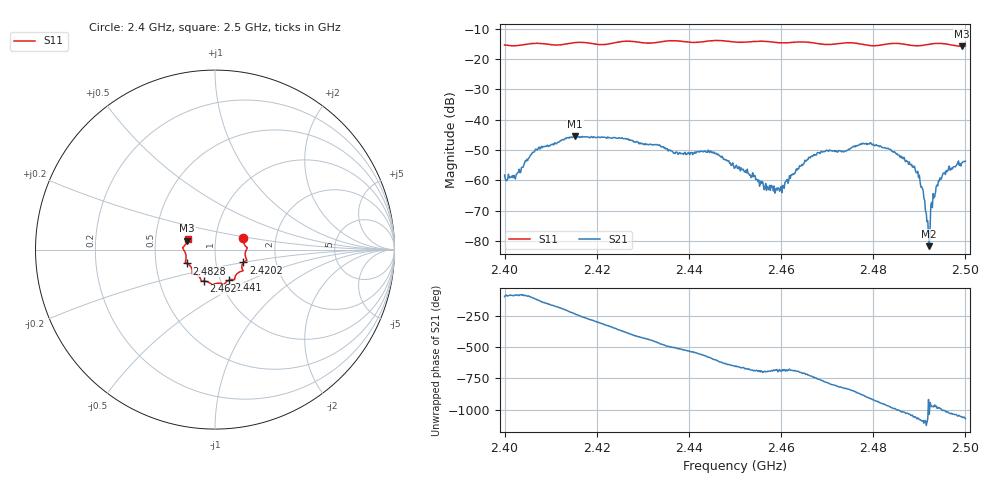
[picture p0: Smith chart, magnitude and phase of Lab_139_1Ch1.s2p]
# Hz S RI R 50
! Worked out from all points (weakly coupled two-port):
!   601 points, 2.4 GHz to 2.5 GHz, reference 50 ohm
!   highest |S21| = -45.45 dB at 2.4153 GHz (marker M1); lowest = -81.7 dB at 2.4922 GHz (marker M2)
!   lowest |S11| = -15.8 dB at 2.4992 GHz (marker M3), VSWR 1.39, Z = 36.5 + j3.68 ohm
!   |S11| at or under -10 dB: start of sweep to end of sweep
!   S12 and S22 are empty: the file has one direction only
!   S11 on the Smith chart (normalised r, x): 2.4 GHz: 1.36, +0.18; 2.4202 GHz: 1.36, -0.20; 2.441 GHz: 1.10, -0.39; 2.462 GHz: 0.84, -0.30; 2.4828 GHz: 0.72, -0.11; 2.5 GHz: 0.73, +0.09
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2.4e9  0.1582 0.0625  -0.000127 -0.00122  0 0  0 0
2.402333e9  0.1613 0.0349  0.000158 -0.00104  0 0  0 0
2.407e9  0.1807 0.00963  -0.00164 -0.0027  0 0  0 0
2.415333e9  0.1772 -0.0572  -0.00306 0.00438  0 0  0 0
2.416667e9  0.1777 -0.0604  -0.00138 0.00494  0 0  0 0
2.420167e9  0.1582 -0.0714  0.00257 0.00445  0 0  0 0
2.433333e9  0.1119 -0.1512  -0.000982 -0.00367  0 0  0 0
2.441e9  0.0783 -0.1698  -0.00282 0.000166  0 0  0 0
2.45e9  0.0285 -0.1878  0.000686 0.00145  0 0  0 0
2.456833e9  -0.0192 -0.1931  0.000622 0.000275  0 0  0 0
2.462e9  -0.0605 -0.1757  0.00088 0.000619  0 0  0 0
2.466667e9  -0.0784 -0.1682  0.00244 -0.000607  0 0  0 0
2.482833e9  -0.1573 -0.0772  -0.00133 0.00305  0 0  0 0
2.483333e9  -0.1605 -0.0757  -0.00103 0.00313  0 0  0 0
2.4895e9  -0.162 -0.0301  0.00132 0.000115  0 0  0 0
2.490667e9  -0.1664 -0.0151  0.00071 -0.000194  0 0  0 0
2.491833e9  -0.1726 -0.00325  0.000212 2.17e-05  0 0  0 0
2.492167e9  -0.1743 -0.000638  6.04e-05 5.55e-05  0 0  0 0
2.493e9  -0.1781 0.00466  -0.000175 0.000577  0 0  0 0
2.494667e9  -0.1798 0.0112  4.99e-05 0.00103  0 0  0 0
2.499167e9  -0.1545 0.0492  0.00175 0.000758  0 0  0 0
2.5e9  -0.1521 0.061  0.00206 0.000239  0 0  0 0
